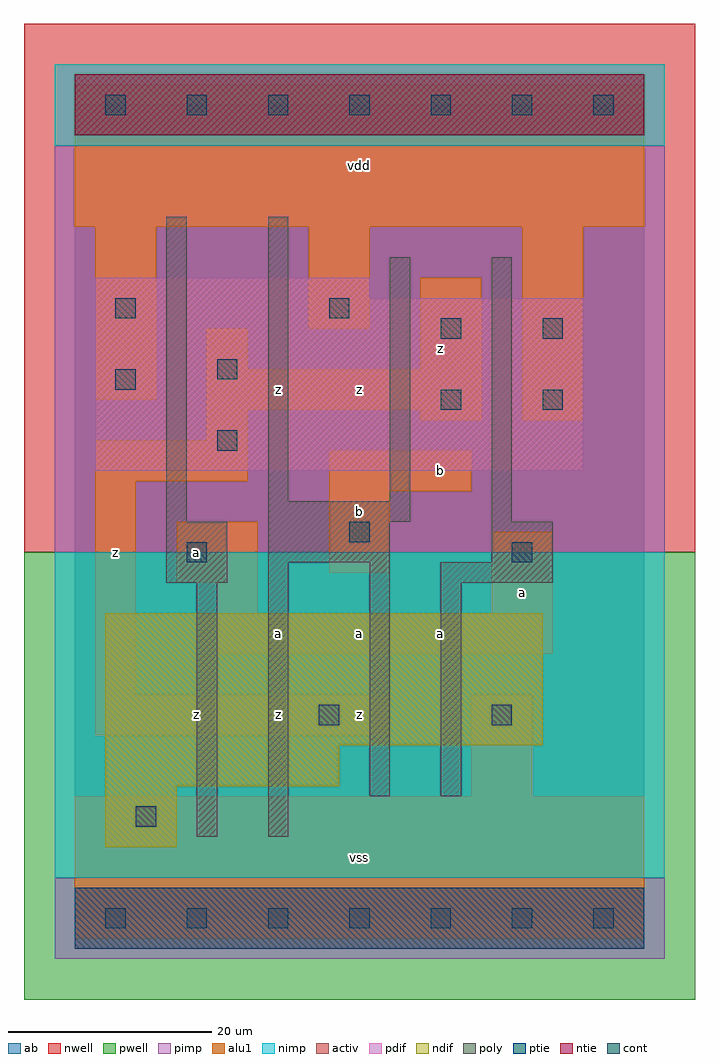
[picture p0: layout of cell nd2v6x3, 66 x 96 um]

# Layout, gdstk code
import gdstk
lib = gdstk.Library(unit=1e-6, precision=1e-09)
def R(c, l, rs):  # rectangles x0, y0, x1, y1
    for r in rs: c.add(gdstk.rectangle(r[:2], r[2:], *l))
def A(c, l, x, y, w, h, nx, ny, dx, dy):  # array of equal rectangles
    R(c, l, [(x+i*dx, y+j*dy, x+i*dx+w, y+j*dy+h) for i in range(nx) for j in range(ny)])
ndif = (3, 0)
pdif = (4, 0)
ntie = (5, 0)
ptie = (6, 0)
cont = (25, 0)
pwell = (41, 0)
nwell = (42, 0)
activ = (43, 0)
pimp = (44, 0)
nimp = (45, 0)
poly = (46, 0)
alu1 = (49, 0)
ab = (63, 0)

nd2v6x3 = lib.new_cell('nd2v6x3')
R(nd2v6x3, ndif, [(3,7,10,13), (3,13,26,17), (3,17,46,30)])
R(nd2v6x3, pdif, [(2,44,50,61), (2,61,29,63)])
R(nd2v6x3, ntie, [(0,77,56,83)])
R(nd2v6x3, ptie, [(0,-3,56,3)])
A(nd2v6x3, cont, 3, -1, 2, 2, 7, 2, 8, 80)
R(nd2v6x3, cont, [(6,9,8,11), (24,19,26,21), (41,19,43,21), (11,35,13,37), (43,35,45,37), (27,37,29,39), (14,46,16,48), (36,50,38,52), (46,50,48,52), (4,52,6,54), (14,53,16,55), (36,57,38,59), (46,57,48,59), (4,59,6,61), (25,59,27,61)])
R(nd2v6x3, pwell, [(-5,-8,61,36)])
R(nd2v6x3, nwell, [(-5,36,61,88)])
R(nd2v6x3, activ, [(0,-3,56,3), (3,7,10,13), (3,13,26,17), (3,17,46,30), (2,44,50,61), (2,61,29,63), (0,77,56,83)])
R(nd2v6x3, pimp, [(-2,-4,58,4), (-2,36,58,76)])
R(nd2v6x3, nimp, [(-2,4,58,36), (-2,76,58,84)])
R(nd2v6x3, poly, [(12,8,14,33), (19,8,21,35), (29,12,31,35), (36,12,38,33), (9,33,15,39), (36,33,47,35), (19,35,31,39), (41,35,47,39), (9,39,11,69), (19,39,33,41), (41,39,43,65), (19,41,21,69), (31,41,33,65)])
R(nd2v6x3, alu1, [(0,-2,56,12), (39,12,45,22), (2,18,31,22), (2,22,6,43), (14,26,47,30), (14,30,18,33), (41,30,47,38), (10,33,18,39), (25,34,31,42), (25,42,39,46), (2,43,17,47), (13,47,17,50), (34,49,40,50), (44,49,50,68), (13,50,40,54), (2,51,8,68), (13,54,17,58), (34,54,40,63), (23,58,29,68), (0,68,56,82)])
R(nd2v6x3, ab, [(0,0,56,80)])
nd2v6x3.add(gdstk.Label('z', (4,36), layer=49, texttype=0))
nd2v6x3.add(gdstk.Label('z', (20,20), layer=49, texttype=0))
nd2v6x3.add(gdstk.Label('z', (12,20), layer=49, texttype=0))
nd2v6x3.add(gdstk.Label('a', (12,36), layer=49, texttype=0))
nd2v6x3.add(gdstk.Label('a', (20,28), layer=49, texttype=0))
nd2v6x3.add(gdstk.Label('z', (20,52), layer=49, texttype=0))
nd2v6x3.add(gdstk.Label('vss', (28,6), layer=49, texttype=0))
nd2v6x3.add(gdstk.Label('z', (28,20), layer=49, texttype=0))
nd2v6x3.add(gdstk.Label('a', (28,28), layer=49, texttype=0))
nd2v6x3.add(gdstk.Label('a', (36,28), layer=49, texttype=0))
nd2v6x3.add(gdstk.Label('b', (36,44), layer=49, texttype=0))
nd2v6x3.add(gdstk.Label('b', (28,40), layer=49, texttype=0))
nd2v6x3.add(gdstk.Label('z', (28,52), layer=49, texttype=0))
nd2v6x3.add(gdstk.Label('z', (36,56), layer=49, texttype=0))
nd2v6x3.add(gdstk.Label('vdd', (28,74), layer=49, texttype=0))
nd2v6x3.add(gdstk.Label('a', (44,32), layer=49, texttype=0))

lib.write_gds('nd2v6x3.gds')
